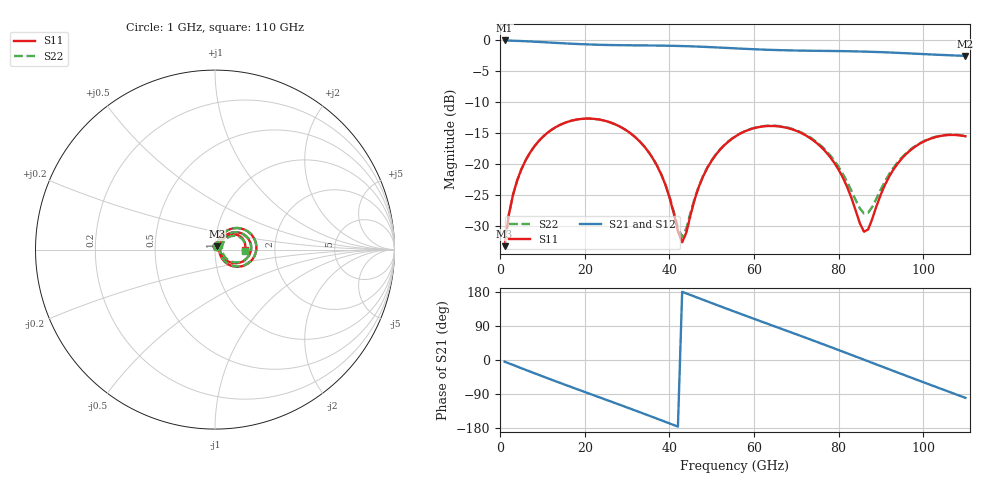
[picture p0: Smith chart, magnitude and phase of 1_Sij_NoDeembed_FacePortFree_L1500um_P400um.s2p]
! Touchstone file exported from HFSS 2024.2.0
!  File:  C:/Users/vaintrug/Documents/Ansoft_Workspace/Comparaison_Calculs_HFSS/1_VarPort.aedt
!  Generated:  03:22:18 PM Jan 21, 2025
!  Design:  1_NoDeembed_FacePortFree
!  Project:  1_VarPort
!  Setup:  Setup1
!  Solution:  Sweep
! Variables:
!  $Lenght = 1500um
!  $PortSize = 400um
!  Gap = 30um
!  Th = 2um
!  X_centralStrip = 20um
!  X_masse = 200um
!  Y_Sub = 1.5mm
!  Z_Box = 400um
!  Z_Sub = 200um
# GHz S MA R 50.000000
! Terminal data exported
! Port[1] = 1
! Port[2] = 2
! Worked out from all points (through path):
!   110 points, 1 GHz to 110 GHz, reference 50 ohm
!   highest |S21| = -0.10 dB at 1 GHz (marker M1); lowest = -2.6 dB at 110 GHz (marker M2)
!   group delay of S21, straight-line fit = 11.6 ps
!   lowest |S11| = -33.3 dB at 1 GHz (marker M3), VSWR 1.04, Z = 50.9 + j1.96 ohm
!   |S11| at or under -10 dB: start of sweep to end of sweep
!   |S22| runs from -33.3 to -12.7 dB; largest |S21 - S12| = 1.6e-14
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1  0.02153 63.5  0.9891 -4.4  0.9891 -4.4  0.02153 63.5
! Gamma 5.84134609353007 49.6988602715842 5.69027367931236 49.3467979157817
! Port Impedance 50 0 50 0
2  0.03873 70.1  0.9866 -8.8  0.9866 -8.8  0.03872 70.1
3  0.05625 70.2  0.984 -13.1  0.984 -13.1  0.05624 70.3
7  0.1225 58.4  0.9709 -30.4  0.9709 -30.4  0.1225 58.5
14  0.2048 31.2  0.9419 -59.9  0.9419 -59.9  0.2047 31.4
20  0.2309 7.9  0.9208 -84.6  0.9208 -84.6  0.2309 8.2
29  0.193 -25.6  0.9052 -121.3  0.9052 -121.3  0.1931 -24.9
34  0.138 -42.5  0.9019 -142.0  0.9019 -142.0  0.1383 -41.4
38  0.08244 -51.7  0.8987 -158.8  0.8987 -158.8  0.083 -49.9
43  0.02314 0.8  0.8912 179.9  0.8912 179.9  0.02563 1.6
47  0.06559 55.3  0.8816 162.9  0.8816 162.9  0.06672 53.8
49  0.09284 53.7  0.8757 154.5  0.8757 154.5  0.09375 52.7
56  0.1691 33.3  0.8526 125.2  0.8526 125.2  0.17 33.3
65  0.2011 2.0  0.828 88.3  0.828 88.3  0.2025 2.8
74  0.1543 -28.3  0.8165 51.4  0.8165 51.4  0.1569 -25.9
80  0.08949 -43.2  0.8117 26.3  0.8117 26.3  0.09423 -38.0
86  0.02817 -3.1  0.804 0.8  0.804 0.8  0.03963 -3.0
87  0.02938 20.5  0.8022 -3.4  0.8022 -3.4  0.04014 12.9
92  0.07888 52.2  0.7908 -24.7  0.7908 -24.7  0.08247 43.7
96  0.1197 44.5  0.7797 -41.6  0.7797 -41.6  0.1215 38.6
101  0.1556 29.4  0.7649 -62.6  0.7649 -62.6  0.1566 25.1
110  0.1664 -0.4  0.7424 -99.9  0.7424 -99.9  0.1672 -3.4
